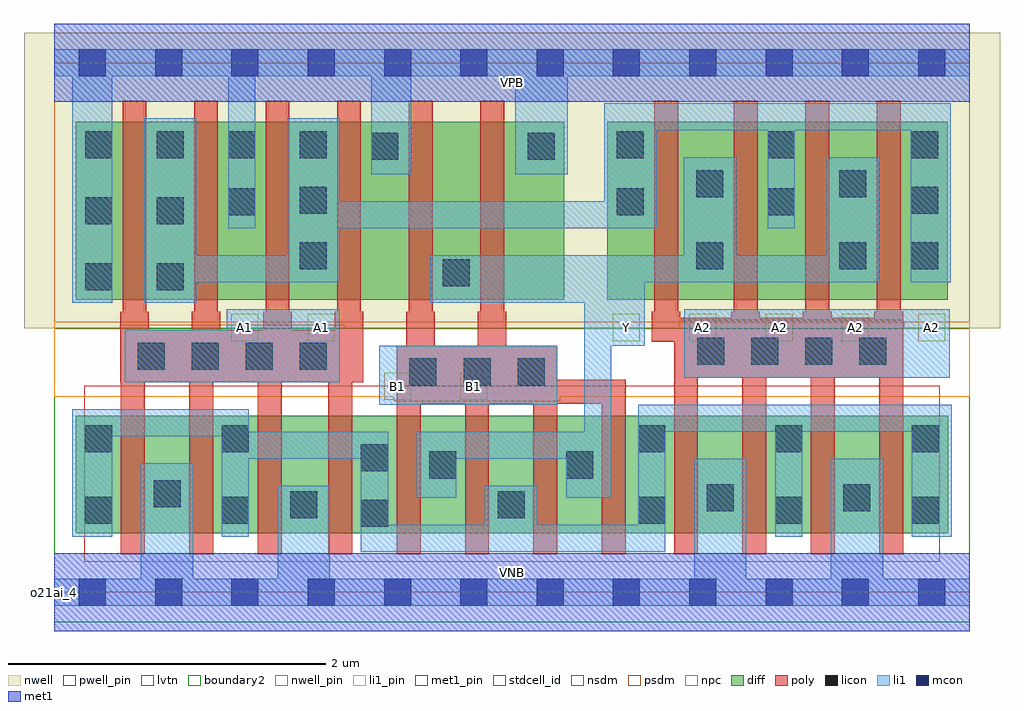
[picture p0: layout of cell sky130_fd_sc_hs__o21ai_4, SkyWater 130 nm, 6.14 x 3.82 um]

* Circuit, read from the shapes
.subckt sky130_fd_sc_hs__o21ai_4 A1 A2 B1 VGND VNB VPB VPWR Y
XM1 VGND A1 n1 VNB sky130_fd_pr__nfet_01v8_lvt w=0.74 l=0.15 m=4
XM2 Y B1 n1 VNB sky130_fd_pr__nfet_01v8_lvt w=0.74 l=0.15 m=4
XM3 VGND A2 n1 VNB sky130_fd_pr__nfet_01v8_lvt w=0.74 l=0.15 m=4
XM4 n2 A1 VPWR VPB sky130_fd_pr__pfet_01v8 w=1.12 l=0.15 m=4
XM5 Y B1 VPWR VPB sky130_fd_pr__pfet_01v8 w=1.12 l=0.15 m=2
XM6 Y A2 n2 VPB sky130_fd_pr__pfet_01v8 w=1.12 l=0.15 m=4
.ends

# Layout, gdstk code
import gdstk
lib = gdstk.Library(unit=1e-6, precision=1e-09)
def R(c, l, rs):  # rectangles x0, y0, x1, y1
    for r in rs: c.add(gdstk.rectangle(r[:2], r[2:], *l))
def A(c, l, x, y, w, h, nx, ny, dx, dy):  # array of equal rectangles
    R(c, l, [(x+i*dx, y+j*dy, x+i*dx+w, y+j*dy+h) for i in range(nx) for j in range(ny)])
def P(c, l, *ps):  # polygons
    for p in ps: c.add(gdstk.Polygon(p, *l))
nwell_pin = (64, 16)
nwell = (64, 20)
diff = (65, 20)
poly = (66, 20)
licon = (66, 44)
li1_pin = (67, 16)
li1 = (67, 20)
mcon = (67, 44)
met1_pin = (68, 16)
met1 = (68, 20)
stdcell_id = (81, 4)
nsdm = (93, 44)
psdm = (94, 20)
npc = (95, 20)
pwell_pin = (122, 16)
lvtn = (125, 44)
boundary2 = (236, 0)

sky130_fd_sc_hs__o21ai_4 = lib.new_cell('sky130_fd_sc_hs__o21ai_4')
R(sky130_fd_sc_hs__o21ai_4, nwell_pin, [(0,3.085,5.76,3.33)])
R(sky130_fd_sc_hs__o21ai_4, nwell, [(-0.19,1.66,5.95,3.52)])
R(sky130_fd_sc_hs__o21ai_4, diff, [(0.135,0.37,5.625,1.11), (0.135,1.84,3.21,2.96), (3.48,1.84,5.62,2.96)])
P(sky130_fd_sc_hs__o21ai_4, poly, [(1.945,1.765),(1.93,1.765),(1.93,3.09),(1.78,3.09),(1.78,1.765),(1.765,1.765),(1.765,1.65),(1.495,1.65),(1.495,1.765),(1.48,1.765),(1.48,3.09),(1.33,3.09),(1.33,1.765),(1.315,1.765),(1.315,1.65),(1.045,1.65),(1.045,1.765),(1.03,1.765),(1.03,3.09),(0.88,3.09),(0.88,1.765),(0.865,1.765),(0.865,1.65),(0.595,1.65),(0.595,1.765),(0.58,1.765),(0.58,3.09),(0.43,3.09),(0.43,1.765),(0.415,1.765),(0.415,1.32),(0.42,1.32),(0.42,0.24),(0.57,0.24),(0.57,1.32),(0.85,1.32),(0.85,0.24),(1,0.24),(1,1.32),(1.28,1.32),(1.28,0.24),(1.43,0.24),(1.43,1.32),(1.725,1.32),(1.725,0.24),(1.875,0.24),(1.875,1.32),(1.945,1.32)],
  [(3.595,1.335),(3.165,1.335),(3.165,1.55),(2.845,1.55),(2.845,1.765),(2.83,1.765),(2.83,3.09),(2.68,3.09),(2.68,1.765),(2.665,1.765),(2.665,1.55),(2.395,1.55),(2.395,1.765),(2.38,1.765),(2.38,3.09),(2.23,3.09),(2.23,1.765),(2.215,1.765),(2.215,1.55),(2.155,1.55),(2.155,0.24),(2.305,0.24),(2.305,1.185),(2.585,1.185),(2.585,0.24),(2.735,0.24),(2.735,1.185),(3.015,1.185),(3.015,0.24),(3.165,0.24),(3.165,1.185),(3.445,1.185),(3.445,0.24),(3.595,0.24)],
  [(5.34,1.765),(5.325,1.765),(5.325,3.09),(5.175,3.09),(5.175,1.765),(5.16,1.765),(5.16,1.725),(4.89,1.725),(4.89,1.765),(4.875,1.765),(4.875,3.09),(4.725,3.09),(4.725,1.765),(4.71,1.765),(4.71,1.725),(4.44,1.725),(4.44,1.765),(4.425,1.765),(4.425,3.09),(4.275,3.09),(4.275,1.765),(4.26,1.765),(4.26,1.725),(3.94,1.725),(3.94,1.765),(3.925,1.765),(3.925,3.09),(3.775,3.09),(3.775,1.765),(3.76,1.765),(3.76,1.575),(3.9,1.575),(3.9,0.24),(4.05,0.24),(4.05,1.35),(4.33,1.35),(4.33,0.24),(4.48,0.24),(4.48,1.35),(4.76,1.35),(4.76,0.24),(4.91,0.24),(4.91,1.35),(5.19,1.35),(5.19,0.24),(5.34,0.24)])
A(sky130_fd_sc_hs__o21ai_4, licon, 3.675, 0.43, 0.17, 0.17, 3, 2, 0.86, 0.45)
A(sky130_fd_sc_hs__o21ai_4, licon, 2.235, 1.3, 0.17, 0.17, 3, 1, 0.34, 0)
A(sky130_fd_sc_hs__o21ai_4, licon, 0.525, 1.4, 0.17, 0.17, 4, 1, 0.34, 0)
A(sky130_fd_sc_hs__o21ai_4, licon, 4.045, 1.43, 0.17, 0.17, 4, 1, 0.34, 0)
A(sky130_fd_sc_hs__o21ai_4, licon, 5.39, 2.03, 0.17, 0.17, 1, 3, 0, 0.35)
A(sky130_fd_sc_hs__o21ai_4, licon, 0.195, 2.73, 0.17, 0.17, 4, 1, 0.45, 0)
R(sky130_fd_sc_hs__o21ai_4, licon, [(1.93,0.41,2.1,0.58), (0.195,0.43,0.365,0.6), (1.055,0.43,1.225,0.6), (1.485,0.465,1.655,0.635), (2.79,0.465,2.96,0.635), (4.105,0.51,4.275,0.68), (4.965,0.51,5.135,0.68), (0.625,0.535,0.795,0.705), (2.36,0.715,2.53,0.885), (3.22,0.715,3.39,0.885), (1.93,0.76,2.1,0.93), (0.195,0.88,0.365,1.05), (1.055,0.88,1.225,1.05), (0.195,1.9,0.365,2.07), (0.645,1.9,0.815,2.07), (2.445,1.925,2.615,2.095), (1.545,2.03,1.715,2.2), (4.04,2.03,4.21,2.2), (4.94,2.03,5.11,2.2), (0.195,2.315,0.365,2.485), (0.645,2.315,0.815,2.485), (1.095,2.37,1.265,2.54), (3.54,2.37,3.71,2.54), (4.49,2.37,4.66,2.54), (1.545,2.38,1.715,2.55), (4.04,2.485,4.21,2.655), (4.94,2.485,5.11,2.655), (1.995,2.72,2.165,2.89), (2.98,2.72,3.15,2.89), (3.54,2.73,3.71,2.9), (4.49,2.73,4.66,2.9)])
A(sky130_fd_sc_hs__o21ai_4, li1_pin, 3.515, 1.58, 0.17, 0.17, 5, 1, 0.48, 0)
R(sky130_fd_sc_hs__o21ai_4, li1_pin, [(2.075,1.21,2.245,1.38), (2.555,1.21,2.725,1.38), (1.115,1.58,1.285,1.75), (1.595,1.58,1.765,1.75)])
R(sky130_fd_sc_hs__o21ai_4, li1, [(2.045,1.18,3.165,1.55), (3.965,1.35,5.635,1.78)])
P(sky130_fd_sc_hs__o21ai_4, li1, [(0,-0.085),(0,0.085),(0.545,0.085),(0.545,0.81),(0.875,0.81),(0.875,0.085),(1.405,0.085),(1.405,0.67),(1.735,0.67),(1.735,0.085),(4.025,0.085),(4.025,0.84),(4.355,0.84),(4.355,0.085),(4.885,0.085),(4.885,0.84),(5.215,0.84),(5.215,0.085),(5.76,0.085),(5.76,-0.085)],
  [(0,3.245),(0,3.415),(5.76,3.415),(5.76,3.245),(3.23,3.245),(3.23,2.63),(2.9,2.63),(2.9,3.245),(2.245,3.245),(2.245,2.63),(1.995,2.63),(1.995,3.245),(1.265,3.245),(1.265,2.29),(1.095,2.29),(1.095,3.245),(0.365,3.245),(0.365,1.82),(0.115,1.82),(0.115,3.245)],
  [(2.365,1.82),(2.365,2.12),(3.96,2.12),(3.96,2.735),(4.29,2.735),(4.29,2.12),(4.86,2.12),(4.86,2.735),(5.19,2.735),(5.19,1.95),(3.715,1.95),(3.715,1.55),(3.505,1.55),(3.505,0.595),(3.22,0.595),(3.22,0.84),(2.53,0.84),(2.53,0.595),(2.28,0.595),(2.28,1.01),(3.335,1.01),(3.335,1.82)],
  [(0.445,1.32),(0.445,1.65),(1.085,1.65),(1.085,1.78),(1.795,1.78),(1.795,1.32)],
  [(1.795,2.46),(3.46,2.46),(3.46,3.075),(5.64,3.075),(5.64,1.95),(5.39,1.95),(5.39,2.905),(4.66,2.905),(4.66,2.29),(4.49,2.29),(4.49,2.905),(3.79,2.905),(3.79,2.29),(1.795,2.29),(1.795,1.95),(0.895,1.95),(0.895,1.82),(0.565,1.82),(0.565,2.98),(0.895,2.98),(0.895,2.12),(1.465,2.12),(1.465,2.98),(1.795,2.98)],
  [(1.225,1.01),(2.1,1.01),(2.1,0.425),(2.71,0.425),(2.71,0.67),(3.04,0.67),(3.04,0.425),(3.675,0.425),(3.675,1.18),(5.645,1.18),(5.645,0.35),(5.395,0.35),(5.395,1.01),(4.705,1.01),(4.705,0.35),(4.535,0.35),(4.535,1.01),(3.845,1.01),(3.845,0.255),(1.93,0.255),(1.93,0.84),(1.225,0.84),(1.225,0.35),(1.055,0.35),(1.055,0.98),(0.365,0.98),(0.365,0.35),(0.115,0.35),(0.115,1.15),(1.225,1.15)])
A(sky130_fd_sc_hs__o21ai_4, mcon, 0.155, -0.085, 0.17, 0.17, 12, 2, 0.48, 3.33)
R(sky130_fd_sc_hs__o21ai_4, met1_pin, [(0,0,5.76,0.245), (0,3.085,5.76,3.33)])
R(sky130_fd_sc_hs__o21ai_4, met1, [(0,-0.245,5.76,0.245), (0,3.085,5.76,3.575)])
R(sky130_fd_sc_hs__o21ai_4, stdcell_id, [(0,0,5.76,3.33)])
R(sky130_fd_sc_hs__o21ai_4, nsdm, [(0,-0.19,5.76,1.66)])
P(sky130_fd_sc_hs__o21ai_4, psdm, [(5.76,3.52),(0,3.52),(0,1.66),(0.415,1.66),(0.415,1.68),(1.825,1.68),(1.825,1.66),(3.935,1.66),(3.935,1.71),(5.345,1.71),(5.345,1.66),(5.76,1.66)])
P(sky130_fd_sc_hs__o21ai_4, npc, [(5.76,1.7),(0,1.7),(0,1.23),(2.135,1.23),(2.135,1.2),(3.185,1.2),(3.185,1.23),(5.76,1.23)])
R(sky130_fd_sc_hs__o21ai_4, pwell_pin, [(0,0,5.76,0.245)])
R(sky130_fd_sc_hs__o21ai_4, lvtn, [(0.19,0.19,5.57,1.3)])
R(sky130_fd_sc_hs__o21ai_4, boundary2, [(0,0,5.76,3.33)])
sky130_fd_sc_hs__o21ai_4.add(gdstk.Label('o21ai_4', (0,0), layer=83, texttype=44))
sky130_fd_sc_hs__o21ai_4.add(gdstk.Label('VNB', (2.88,0.123), layer=64, texttype=59))
sky130_fd_sc_hs__o21ai_4.add(gdstk.Label('VPB', (2.88,3.208), layer=64, texttype=5))
sky130_fd_sc_hs__o21ai_4.add(gdstk.Label('VPWR', (2.88,3.208), layer=68, texttype=5))
sky130_fd_sc_hs__o21ai_4.add(gdstk.Label('VGND', (2.88,0.123), layer=68, texttype=5))
sky130_fd_sc_hs__o21ai_4.add(gdstk.Label('Y', (3.6,1.665), layer=67, texttype=5))
sky130_fd_sc_hs__o21ai_4.add(gdstk.Label('A1', (1.2,1.665), layer=67, texttype=5))
sky130_fd_sc_hs__o21ai_4.add(gdstk.Label('A1', (1.68,1.665), layer=67, texttype=5))
sky130_fd_sc_hs__o21ai_4.add(gdstk.Label('A2', (4.08,1.665), layer=67, texttype=5))
sky130_fd_sc_hs__o21ai_4.add(gdstk.Label('A2', (4.56,1.665), layer=67, texttype=5))
sky130_fd_sc_hs__o21ai_4.add(gdstk.Label('A2', (5.04,1.665), layer=67, texttype=5))
sky130_fd_sc_hs__o21ai_4.add(gdstk.Label('A2', (5.52,1.665), layer=67, texttype=5))
sky130_fd_sc_hs__o21ai_4.add(gdstk.Label('B1', (2.16,1.295), layer=67, texttype=5))
sky130_fd_sc_hs__o21ai_4.add(gdstk.Label('B1', (2.64,1.295), layer=67, texttype=5))

lib.write_gds('sky130_fd_sc_hs__o21ai_4.gds')
